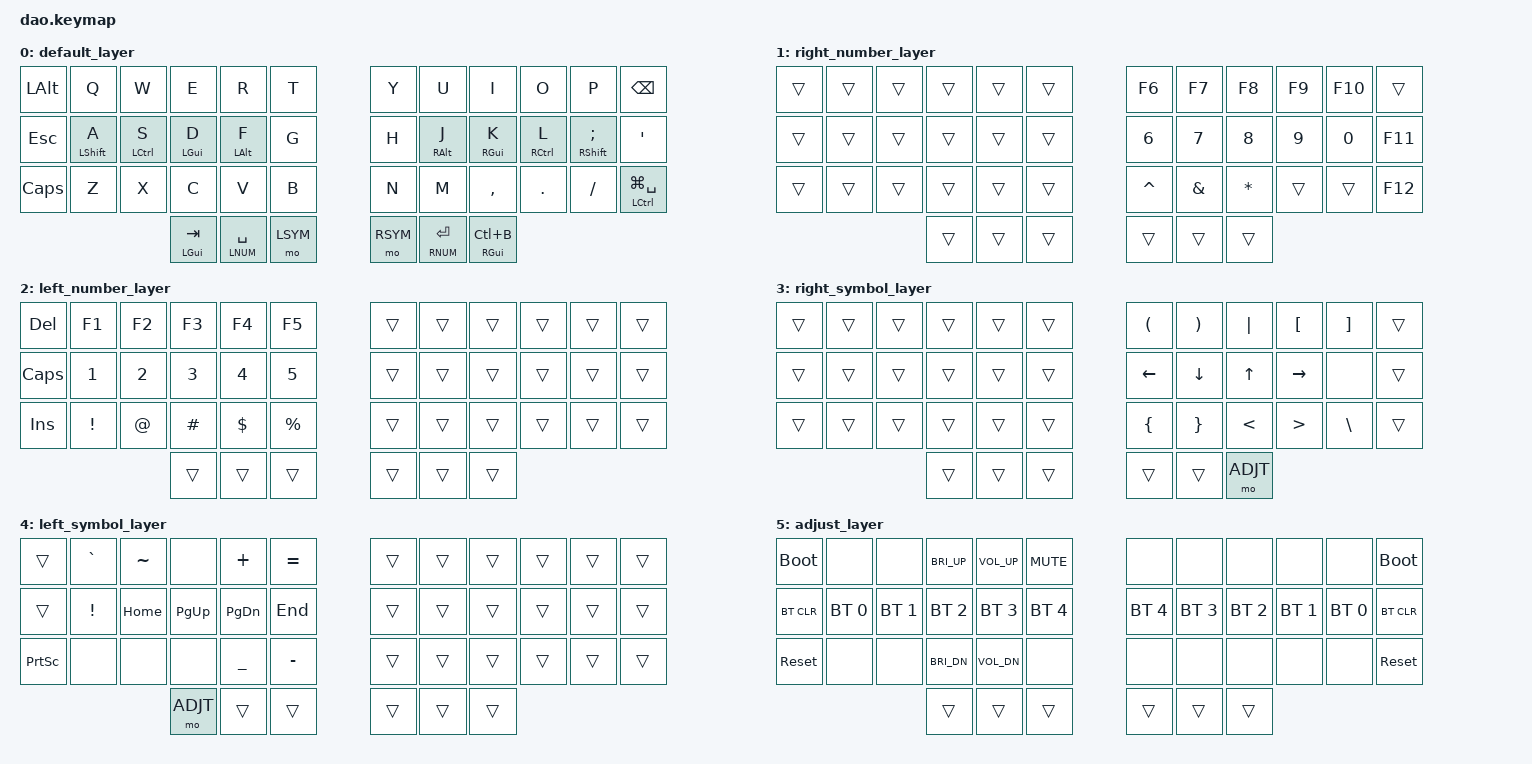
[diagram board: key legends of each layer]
/*
 * Copyright (c) 2021 Rafael Yumagulov
 *
 * SPDX-License-Identifier: MIT
 */

#include <behaviors.dtsi>
#include <dt-bindings/zmk/keys.h>
#include <dt-bindings/zmk/bt.h>

#define DEF  0
#define RNUM 1
#define LNUM 2
#define RSYM 3
#define LSYM 4
#define ADJT 5

&lt { quick_tap_ms = <180>; };
&mt { quick_tap_ms = <180>; };

/ {
    chosen {
        zmk,matrix_transform = &default_transform;
        // zmk,matrix_transform = &extra_keys_transform;
    };
};

/ {
        behaviors {
            pht: personal_hold_tap {
                compatible = "zmk,behavior-hold-tap";
                #binding-cells = <2>;
                flavor = "hold-preferred";
                tapping-term-ms = <200>;
                bindings = <&mo>, <&kp>;
            };
            
            cmt: custom_mod_tap {
                compatible = "zmk,behavior-hold-tap";
                #binding-cells = <2>;
                flavor = "tap-preferred";
                // require-prior-idle-ms = <125>;
                quick-tap-ms = <0>;
                tapping-term-ms = <150>;
                bindings = <&kp>, <&kp>;
            };
        };

        keymap {
                compatible = "zmk,keymap";

                default_layer {
                        bindings = <
&kp LALT        &kp Q         &kp W         &kp E        &kp R        &kp T    &kp Y       &kp U        &kp I        &kp O         &kp P            &kp BSPC
&kp ESC         &cmt LSHFT A  &cmt LCTRL S  &cmt LGUI D  &cmt LALT F  &kp G    &kp H       &cmt RALT J  &cmt RGUI K  &cmt RCTRL L  &cmt RSHFT SEMI  &kp SINGLE_QUOTE
&kp CAPS        &kp Z         &kp X         &kp C        &kp V        &kp B    &kp N       &kp M        &kp COMMA    &kp DOT       &kp SLASH        &cmt LCTRL LG(SPACE)

                                 &cmt LGUI TAB  &lt LNUM SPACE  &mo LSYM                   &mo RSYM  &lt RNUM RET  &cmt RGUI LC(B) 
                        >;
                };

                right_number_layer {
                        bindings = <
&trans  &trans  &trans  &trans  &trans  &trans    &kp F6     &kp F7         &kp F8        &kp F9  &kp F10  &trans
&trans  &trans  &trans  &trans  &trans  &trans    &kp N6     &kp N7         &kp N8        &kp N9  &kp N0   &kp F11
&trans  &trans  &trans  &trans  &trans  &trans    &kp CARET  &kp AMPERSAND  &kp ASTERISK  &trans  &trans   &kp F12

                        &trans  &trans  &trans    &trans  &trans  &trans
                        >;
                };

                left_number_layer {
                        bindings = <
&kp DEL  &kp F1   &kp F2   &kp F3   &kp F4   &kp F5           &trans  &trans  &trans  &trans  &trans  &trans
&kp CAPS &kp N1   &kp N2   &kp N3   &kp N4   &kp N5           &trans  &trans  &trans  &trans  &trans  &trans
&kp INS  &kp EXCL &kp AT   &kp HASH &kp DLLR &kp PERCENT      &trans  &trans  &trans  &trans  &trans  &trans

                             &trans  &trans  &trans           &trans  &trans  &trans
                        >;
                };

                right_symbol_layer {
                        bindings = <
&trans  &trans  &trans  &trans  &trans  &trans    &kp LPAR       &kp RPAR        &kp PIPE &kp LEFT_BRACKET &kp RIGHT_BRACKET &trans
&trans  &trans  &trans  &trans  &trans  &trans    &kp LEFT       &kp DOWN        &kp UP   &kp RIGHT        &none             &trans
&trans  &trans  &trans  &trans  &trans  &trans    &kp LEFT_BRACE &kp RIGHT_BRACE &kp LT   &kp GT           &kp BACKSLASH     &trans

                        &trans  &trans  &trans     &trans  &trans  &mo ADJT
                        >;
                };

                left_symbol_layer {
                        bindings = <
&trans          &kp GRAVE &kp TILDE &none     &kp PLUS     &kp EQUAL  &trans  &trans  &trans  &trans  &trans  &trans
&trans          &kp EXCL  &kp HOME  &kp PG_UP &kp PG_DN    &kp END    &trans  &trans  &trans  &trans  &trans  &trans
&kp PRINTSCREEN &none     &none     &none     &kp UNDER    &kp MINUS  &trans  &trans  &trans  &trans  &trans  &trans

                               &mo ADJT  &trans  &trans    &trans  &trans  &trans
                        >;
                };

                adjust_layer {
                        bindings = <
&bootloader &none        &none        &kp C_BRI_UP  &kp C_VOL_UP  &kp C_MUTE      &none        &none        &none        &none        &none        &bootloader
&bt BT_CLR  &bt BT_SEL 0 &bt BT_SEL 1 &bt BT_SEL 2  &bt BT_SEL 3  &bt BT_SEL 4    &bt BT_SEL 4 &bt BT_SEL 3 &bt BT_SEL 2 &bt BT_SEL 1 &bt BT_SEL 0 &bt BT_CLR
&sys_reset  &none        &none        &kp C_BRI_DN  &kp C_VOL_DN  &none           &none        &none        &none        &none        &none        &sys_reset

                                                  &trans  &trans  &trans          &trans  &trans  &trans
                        >;
                };
        };
};
